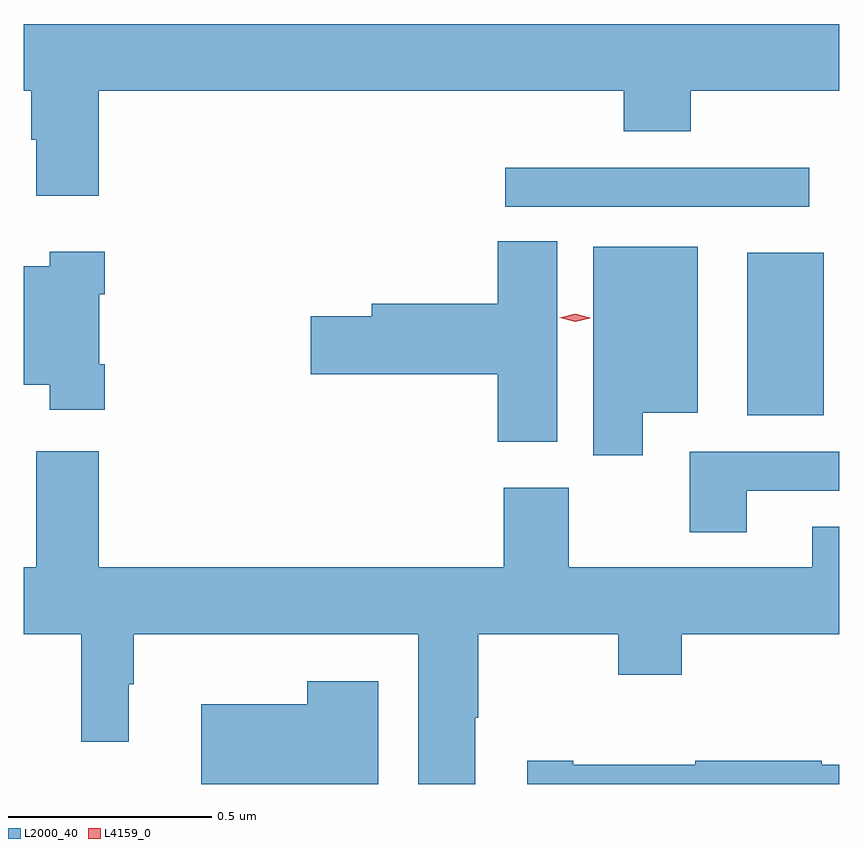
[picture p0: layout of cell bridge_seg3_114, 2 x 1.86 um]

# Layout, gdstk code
import gdstk
lib = gdstk.Library(unit=1e-6, precision=1e-09)
def R(c, l, rs):  # rectangles x0, y0, x1, y1
    for r in rs: c.add(gdstk.rectangle(r[:2], r[2:], *l))
def P(c, l, *ps):  # polygons
    for p in ps: c.add(gdstk.Polygon(p, *l))
L2000_40 = (2000, 40)
L4159_0 = (4159, 0)

bridge_seg3_114 = lib.new_cell('bridge_seg3_114')
R(bridge_seg3_114, L2000_40, [(347.114,744.077,347.302,744.475), (346.521,744.588,347.266,744.684)])
P(bridge_seg3_114, L2000_40, [(345.524,744.872),(346.811,744.872),(346.811,744.773),(346.976,744.773),(346.976,744.872),(347.34,744.872),(347.34,745.036),(345.34,745.036),(345.34,744.872),(345.359,744.872),(345.359,744.752),(345.371,744.752),(345.371,744.615),(345.524,744.615)],
  [(346.648,744.503),(346.502,744.503),(346.502,744.35),(346.193,744.35),(346.193,744.32),(346.044,744.32),(346.044,744.178),(346.502,744.178),(346.502,744.012),(346.648,744.012)],
  [(346.858,744.083),(346.993,744.083),(346.993,744.49),(346.736,744.49),(346.736,743.979),(346.858,743.979)],
  [(345.539,744.202),(345.526,744.202),(345.526,744.374),(345.539,744.374),(345.539,744.478),(345.404,744.478),(345.404,744.442),(345.34,744.442),(345.34,744.152),(345.404,744.152),(345.404,744.09),(345.539,744.09)],
  [(346.447,743.336),(346.455,743.336),(346.455,743.54),(346.798,743.54),(346.798,743.441),(346.953,743.441),(346.953,743.54),(347.34,743.54),(347.34,743.803),(347.273,743.803),(347.273,743.704),(346.677,743.704),(346.677,743.899),(346.517,743.899),(346.517,743.704),(345.524,743.704),(345.524,743.989),(345.371,743.989),(345.371,743.704),(345.34,743.704),(345.34,743.54),(345.481,743.54),(345.481,743.277),(345.598,743.277),(345.598,743.417),(345.61,743.417),(345.61,743.54),(346.307,743.54),(346.307,743.173),(346.447,743.173)],
  [(347.113,743.892),(347.34,743.892),(347.34,743.988),(346.973,743.988),(346.973,743.79),(347.113,743.79)],
  [(346.21,743.425),(346.035,743.425),(346.035,743.368),(345.776,743.368),(345.776,743.173),(346.21,743.173)],
  [(347.34,743.22),(347.297,743.22),(347.297,743.23),(346.987,743.23),(346.987,743.22),(346.687,743.22),(346.687,743.23),(346.575,743.23),(346.575,743.173),(347.34,743.173)])
P(bridge_seg3_114, L4159_0, [(346.692,744.306),(346.654,744.316),(346.654,744.316),(346.654,744.316),(346.692,744.326),(346.729,744.316),(346.729,744.316),(346.729,744.315)])

lib.write_gds('bridge_seg3_114.gds')
